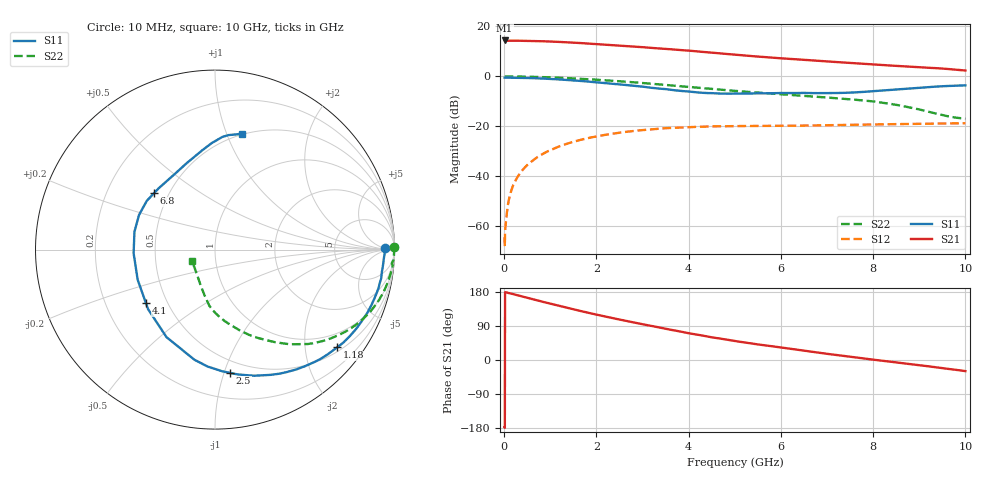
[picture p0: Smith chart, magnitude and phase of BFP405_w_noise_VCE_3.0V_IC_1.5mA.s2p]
! Infineon Technologies  Discrete & RF Semiconductors
! BFP405
! VCE =  3.0 V,  IC =  1.5 mA
! Common Emitter S-Parameters:  Jan 2016
# GHz  S  MA  R  50
!  f  S11  S21  S12  S22
! GHz  MAG  ANG  MAG  ANG  MAG  ANG  MAG  ANG
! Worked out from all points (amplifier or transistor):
!   233 points, 10 MHz to 10 GHz, reference 50 ohm
!   highest |S21| = 14.4 dB at 10 MHz (marker M1)
!   |S21| within 3 dB of that: start of sweep to 3.208 GHz
!   unconditionally stable (mu >= 1): 4.753 GHz to end of sweep
!   at 200 MHz: K = 0.04, MSG = 28.8 dB, |S12| = -43.3 dB
!   at 1.74 GHz: K = 0.26, MSG = 19.1 dB, |S12| = -25.0 dB
!   at 10 GHz: K = 1.81, MAG = 5.3 dB, |S12| = -18.7 dB
!   lowest NFmin = 0.79 dB at 900 MHz
!   S11 on the Smith chart (normalised r, x): 10 MHz: 35, +8; 1.18 GHz: 0.60, -2.74; 2.5 GHz: 0.40, -1.05; 4.1 GHz: 0.38, -0.30; 6.8 GHz: 0.41, +0.33; 10 GHz: 0.49, +1.14
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0.01  0.9466 0.7  5.244 -177.5  0.0006 -41.4  1 0.7
0.015  0.946 0.2  5.203 -179.2  0.0004 32.3  0.9972 0.4
0.02  0.9455 -0.4  5.167 179.0  0.0008 78.3  0.9944 0.1
0.06  0.9446 -1.8  5.155 178.2  0.0019 85.8  0.998 -0.7
0.105  0.9416 -3.3  5.186 176.4  0.0035 87.4  0.9981 -1.7
0.185  0.9396 -5.9  5.174 174.2  0.0063 86.3  0.9957 -3.1
0.3  0.9397 -9.8  5.182 170.7  0.0101 85.3  0.9945 -5.0
0.5  0.9305 -16.2  5.154 164.3  0.0168 81.6  0.9859 -8.4
0.8  0.9093 -26.1  5.072 154.8  0.0268 76.2  0.9705 -13.5
1.18  0.8722 -38.6  4.91 143.2  0.0393 69.3  0.9423 -19.8
1.68  0.8093 -55.2  4.635 128.7  0.0543 60.0  0.8935 -27.6
2.06  0.7543 -68.0  4.398 118.2  0.0644 53.2  0.8515 -33.0
2.5  0.6919 -83.0  4.13 106.8  0.0747 45.9  0.7998 -38.9
3  0.6242 -100.6  3.848 94.4  0.0846 37.8  0.7387 -45.4
3.4  0.5659 -115.0  3.612 84.9  0.0904 31.6  0.6865 -50.2
4.1  0.4871 -142.1  3.217 68.7  0.0974 22.1  0.6019 -58.2
4.5  0.4624 -158.7  2.999 59.9  0.1 17.2  0.5594 -62.8
5.1  0.4526 179.5  2.678 48.3  0.1015 11.1  0.5048 -68.9
6  0.4652 155.5  2.305 32.9  0.1024 4.6  0.4398 -76.7
6.8  0.4628 137.3  2.054 19.8  0.1046 0.3  0.3898 -84.0
8.4  0.5406 100.5  1.646 -4.9  0.1106 -8.1  0.2798 -100.2
10  0.6627 76.8  1.312 -29.3  0.1156 -15.2  0.1428 -153.9
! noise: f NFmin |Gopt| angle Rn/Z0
0.9  0.79  0.64  15  0.47
1.8  1.18  0.51  29  0.42
2.4  1.41  0.42  40  0.39
3  1.48  0.42  55  0.36
4  1.72  0.3  82  0.27
5  2.06  0.26  118  0.21
